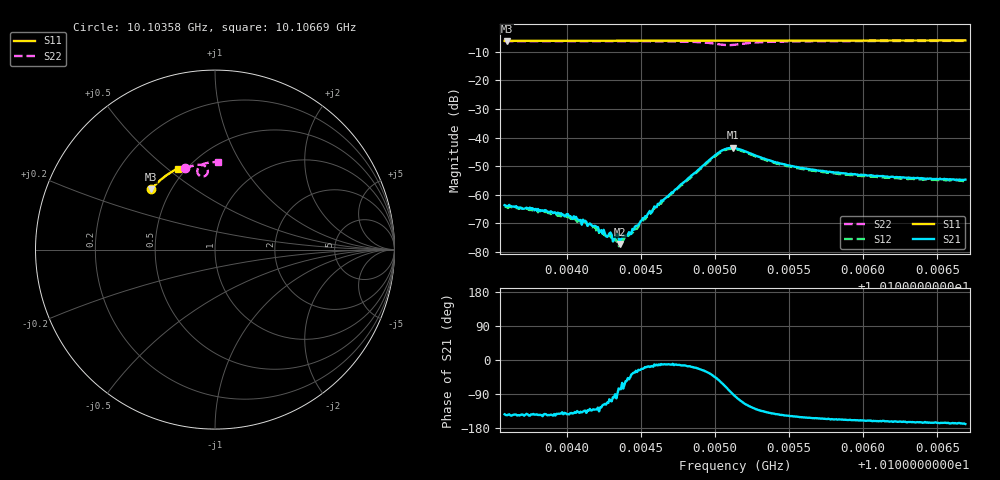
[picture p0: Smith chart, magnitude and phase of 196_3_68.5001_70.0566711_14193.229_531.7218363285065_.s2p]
#  HZ  S  RI  R  50.00
! Rohde & Schwarz Vector Network Analyzer
! Rohde-Schwarz,ZNB20-2Port,1311601062101988,3.16
! Created: UTC 3/20/2024, 5:12:33 PM
! freq[Hz]  re:S11  im:S11  re:S21  im:S21  re:S12  im:S12  re:S22  im:S22
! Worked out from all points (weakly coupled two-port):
!   401 points, 10.10358 GHz to 10.10669 GHz, reference 50 ohm
!   highest |S21| = -43.59 dB at 10.10512 GHz (marker M1); lowest = -77.2 dB at 10.10436 GHz (marker M2)
!   lowest |S11| = -6.2 dB at 10.1036 GHz (marker M3), VSWR 2.92, Z = 19.5 + j17.3 ohm
!   |S11| at or under -10 dB: nowhere
!   |S22| runs from -7.7 to -6.2 dB; largest |S21 - S12| = 0.00068
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1.0103582e10  -0.356 0.3362  -0.000528 -0.000392  -0.000467 -0.000402  -0.1647 0.4527
1.0103598e10  -0.3552 0.3369  -0.000525 -0.000359  -0.000478 -0.000374  -0.1637 0.4533
1.0103722e10  -0.3504 0.3426  -0.000472 -0.000338  -0.000419 -0.000372  -0.1558 0.4563
1.0103932e10  -0.3416 0.352  -0.000365 -0.000282  -0.000343 -0.000292  -0.142 0.4613
1.0104017e10  -0.3381 0.3558  -0.000335 -0.000247  -0.000298 -0.000274  -0.1361 0.4631
1.0104102e10  -0.3345 0.3596  -0.000224 -0.0002  -0.000222 -0.00025  -0.1303 0.465
1.0104196e10  -0.3305 0.3637  -0.000184 -0.000214  -0.000143 -0.000228  -0.1236 0.4668
1.0104273e10  -0.3271 0.3668  -6.96e-05 -0.00017  -7.27e-05 -0.000195  -0.1177 0.4683
1.0104312e10  -0.3254 0.3685  -2.16e-05 -0.000151  -8.73e-06 -0.000185  -0.1148 0.469
1.0104343e10  -0.324 0.3697  5.42e-06 -0.000209  -1.22e-06 -0.000138  -0.1123 0.4697
1.0104359e10  -0.3233 0.3705  3.13e-05 -0.000134  2.24e-05 -0.000145  -0.1111 0.4698
1.0104421e10  -0.3207 0.373  0.000139 -0.000173  0.000153 -0.00014  -0.106 0.4709
1.0104468e10  -0.3184 0.3748  0.000251 -0.000136  0.000231 -0.0001  -0.1021 0.4715
1.0104623e10  -0.3115 0.3813  0.000682 -0.000143  0.000663 -0.000111  -0.0875 0.4728
1.0105011e10  -0.2933 0.3962  0.00343 -0.00381  0.0036 -0.00333  -0.0402 0.431
1.0105073e10  -0.2904 0.3986  0.00206 -0.00598  0.00255 -0.00554  -0.0558 0.4099
1.010512e10  -0.2883 0.4002  2.79e-05 -0.00662  0.000638 -0.00631  -0.0771 0.408
1.0105136e10  -0.2877 0.4008  -0.000628 -0.0065  -1.06e-05 -0.00627  -0.0835 0.4106
1.0105407e10  -0.2749 0.4109  -0.00297 -0.00227  -0.00262 -0.00241  -0.084 0.466
1.0105656e10  -0.2624 0.4197  -0.00246 -0.00124  -0.00223 -0.00139  -0.0604 0.4783
1.0106176e10  -0.2359 0.4367  -0.00195 -0.000601  -0.00182 -0.000772  -0.0206 0.4863
1.0106689e10  -0.2086 0.4516  -0.00181 -0.000353  -0.00167 -0.000524  0.0147 0.4886
